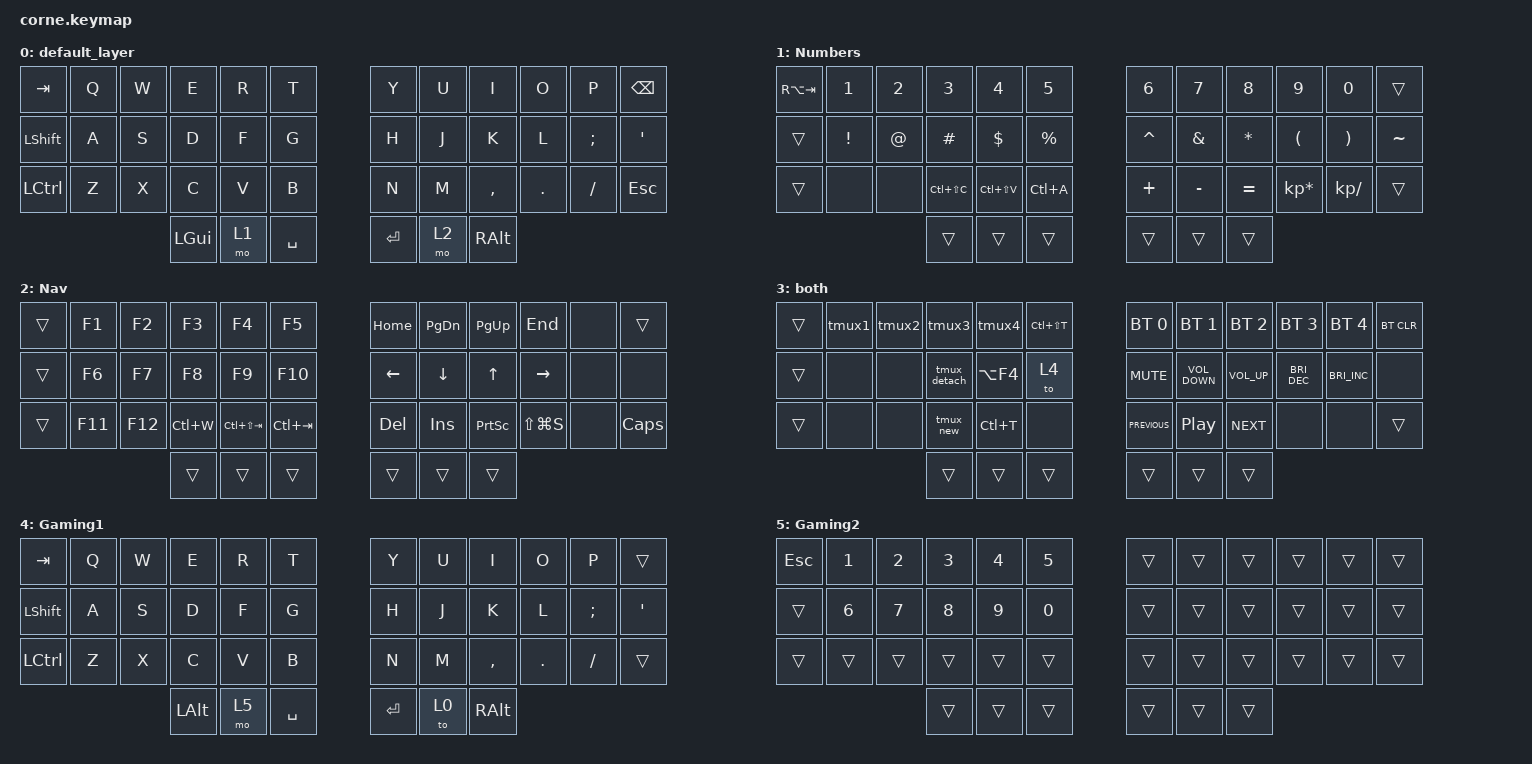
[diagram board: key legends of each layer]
/*
 * Copyright (c) 2020 The ZMK Contributors
 *
 * SPDX-License-Identifier: MIT
 */

#include <behaviors.dtsi>
#include <dt-bindings/zmk/bt.h>
#include <dt-bindings/zmk/keys.h>

/ {
    combos {
        compatible = "zmk,combos";

        LeftPar {
            bindings = <&kp LEFT_PARENTHESIS>;
            key-positions = <4 3>;
        };

        RightPar {
            bindings = <&kp RIGHT_PARENTHESIS>;
            key-positions = <7 8>;
        };

        LeftBkt {
            bindings = <&kp LEFT_BRACKET>;
            key-positions = <16 15>;
        };

        RightBkt {
            bindings = <&kp RIGHT_BRACKET>;
            key-positions = <19 20>;
        };

        LeftBrc {
            bindings = <&kp LEFT_BRACE>;
            key-positions = <28 27>;
        };

        RightBrc {
            bindings = <&kp RIGHT_BRACE>;
            key-positions = <31 32>;
        };

        LessT {
            bindings = <&kp LESS_THAN>;
            key-positions = <4 5>;
        };

        GreaterT {
            bindings = <&kp GREATER_THAN>;
            key-positions = <7 6>;
        };

        Equal {
            bindings = <&kp EQUAL>;
            key-positions = <16 19>;
        };

        Plus {
            bindings = <&kp PLUS>;
            key-positions = <4 7>;
        };

        Minus {
            bindings = <&kp MINUS>;
            key-positions = <28 31>;
        };

        Underscore {
            bindings = <&kp UNDERSCORE>;
            key-positions = <29 30>;
        };

        pipe {
            bindings = <&kp PIPE>;
            key-positions = <17 18>;
        };

        backslash {
            bindings = <&kp BACKSLASH>;
            key-positions = <5 6>;
        };
    };

    macros {
        tmux1: new_macro {
            compatible = "zmk,behavior-macro";
            #binding-cells = <0>;
            bindings =
                <&kp LC(A)>,
                <&macro_pause_for_release>,
                <&kp KP_NUMBER_1>;

            label = "NEW_MACRO";
        };

        tmux2: tmux2 {
            compatible = "zmk,behavior-macro";
            #binding-cells = <0>;
            bindings =
                <&kp LC(A)>,
                <&macro_pause_for_release>,
                <&kp KP_NUMBER_2>;

            label = "TMUX2";
        };

        tmux3: tmux3 {
            compatible = "zmk,behavior-macro";
            #binding-cells = <0>;
            bindings =
                <&kp LC(A)>,
                <&macro_pause_for_release>,
                <&kp KP_NUMBER_3>;

            label = "TMUX3";
        };

        tmux4: tmux4 {
            compatible = "zmk,behavior-macro";
            #binding-cells = <0>;
            bindings =
                <&kp LC(A)>,
                <&macro_pause_for_release>,
                <&kp KP_NUMBER_4>;

            label = "TMUX4";
        };

        tmux_new: tmux_new {
            compatible = "zmk,behavior-macro";
            #binding-cells = <0>;
            bindings = <&kp LC(A)>, <&macro_pause_for_release>, <&kp C>;

            label = "TMUX_NEW";
        };

        tmux_detach: tmux_close {
            compatible = "zmk,behavior-macro";
            #binding-cells = <0>;
            bindings = <&kp LC(A)>, <&macro_pause_for_release>, <&kp D>;

            label = "TMUX_CLOSE";
        };
    };

    keymap {
        compatible = "zmk,keymap";

        default_layer {
            // -----------------------------------------------------------------------------------------
            // |  TAB |  Q  |  W  |  E  |  R  |  T  |   |  Y  |  U   |  I  |  O  |  P  | BSPC |
            // | SHFT |  A  |  S  |  D  |  F  |  G  |   |  H  |  J   |  K  |  L  |  ;  |  '   |
            // | CTRL |  Z  |  X  |  C  |  V  |  B  |   |  N  |  M   |  ,  |  .  |  /  | ESC  |
            //                    | GUI | LWR | SPC |   | ENT | RSE  | ALT |

            bindings = <
&kp TAB           &kp Q  &kp W  &kp E     &kp R  &kp T        &kp Y    &kp U  &kp I      &kp O    &kp P     &kp BSPC
&kp LEFT_SHIFT    &kp A  &kp S  &kp D     &kp F  &kp G        &kp H    &kp J  &kp K      &kp L    &kp SEMI  &kp SQT
&kp LEFT_CONTROL  &kp Z  &kp X  &kp C     &kp V  &kp B        &kp N    &kp M  &kp COMMA  &kp DOT  &kp FSLH  &kp ESC
                                &kp LGUI  &mo 1  &kp SPACE    &kp RET  &mo 2  &kp RALT
            >;
        };

        Numbers {
            // -----------------------------------------------------------------------------------------
            // |A-TAB |  !  |  @  |  #  |  $  |  %  |   |  /  |  7  |  8  |  9  |  -  |  +   |
            // | SHFT |  ^  |  &  |  *  |  -  |  =  |   |  *  |  4  |  5  |  6  |  ç  |  ~   |
            // | CTRL |     |     |     |     |     |   |  0  |  1  |  2  |  3  |  .  |      |
            //                    | GUI |     | SPC |   | ENT |     | ALT |

            bindings = <
&kp RA(TAB)  &kp NUMBER_1  &kp NUMBER_2  &kp NUMBER_3   &kp NUMBER_4   &kp NUMBER_5    &kp NUMBER_6  &kp N7         &kp N8        &kp N9                &kp NUMBER_0   &trans
&trans       &kp EXCL      &kp AT        &kp HASH       &kp DOLLAR     &kp PERCENT     &kp CARET     &kp AMPERSAND  &kp ASTERISK  &kp LEFT_PARENTHESIS  &kp RPAR       &kp TILDE
&trans       &none         &none         &kp LC(LS(C))  &kp LC(LS(V))  &kp LC(A)       &kp PLUS      &kp MINUS      &kp EQUAL     &kp KP_MULTIPLY       &kp KP_DIVIDE  &trans
                                         &trans         &trans         &trans          &trans        &trans         &trans
            >;
        };

        Nav {
            // -----------------------------------------------------------------------------------------
            // |      | F1  | F2  | F3  | F4  | F5  |   |HOME |PGDN |PGUP | END |     |      |
            // |      | F6  | F7  | F8  | F9  | F10 |   |LEFT |DOWN |  UP |RGT  |     |      |
            // |      | F11 | F12 |     |     |     |   | DEL | INS | PRT |LOCK |     | CAPS |
            //                    | GUI |     | SPC |   | ENT |     | ALT |

            bindings = <
&trans  &kp F1   &kp F2   &kp F3     &kp F4           &kp F5         &kp HOME  &kp PG_DN   &kp PG_UP        &kp END        &none  &trans
&trans  &kp F6   &kp F7   &kp F8     &kp F9           &kp F10        &kp LEFT  &kp DOWN    &kp UP           &kp RIGHT      &none  &none
&trans  &kp F11  &kp F12  &kp LC(W)  &kp LC(LS(TAB))  &kp LC(TAB)    &kp DEL   &kp INSERT  &kp PRINTSCREEN  &kp LS(LG(S))  &none  &kp CAPSLOCK
                          &trans     &trans           &trans         &trans    &trans      &trans
            >;
        };

        both {
            // -----------------------------------------------------------------------------------------
            // |      | TM1 | TM2 | TM3 | TM4 |     |   | BT0 | BT1 | BT2 | BT3 | BT4 |BCLR |
            // |      | C-W |C-S-T|DETCH|A-F4 | G1  |   |MUTE |VOL- |VOL+ | BR- | BR+ |     |
            // |      | C-T |C-S-B| NEW |C-TAB|     |   |PREV |PLAY |NEXT |     |     |      |
            //                    | GUI |     | SPC |   | ENT |     | ALT |

            bindings = <
&trans  &tmux1  &tmux2  &tmux3        &tmux4      &kp LC(LS(T))    &bt BT_SEL 0    &bt BT_SEL 1       &bt BT_SEL 2     &bt BT_SEL 3          &bt BT_SEL 4          &bt BT_CLR
&trans  &none   &none   &tmux_detach  &kp LA(F4)  &to 4            &kp C_MUTE      &kp C_VOLUME_DOWN  &kp C_VOLUME_UP  &kp C_BRIGHTNESS_DEC  &kp C_BRIGHTNESS_INC  &none
&trans  &none   &none   &tmux_new     &kp LC(T)   &none            &kp C_PREVIOUS  &kp C_PLAY_PAUSE   &kp C_NEXT       &none                 &none                 &trans
                        &trans        &trans      &trans           &trans          &trans             &trans
            >;
        };

        Gaming1 {
            bindings = <
&kp TAB    &kp Q  &kp W  &kp E     &kp R  &kp T        &kp Y      &kp U  &kp I          &kp O    &kp P     &trans
&kp LSHFT  &kp A  &kp S  &kp D     &kp F  &kp G        &kp H      &kp J  &kp K          &kp L    &kp SEMI  &kp APOS
&kp LCTRL  &kp Z  &kp X  &kp C     &kp V  &kp B        &kp N      &kp M  &kp COMMA      &kp DOT  &kp FSLH  &trans
                         &kp LALT  &mo 5  &kp SPACE    &kp ENTER  &to 0  &kp RIGHT_ALT
            >;
        };

        Gaming2 {
            bindings = <
&kp ESC  &kp N1  &kp N2  &kp N3  &kp N4  &kp N5    &trans  &trans  &trans  &trans  &trans  &trans
&trans   &kp N6  &kp N7  &kp N8  &kp N9  &kp N0    &trans  &trans  &trans  &trans  &trans  &trans
&trans   &trans  &trans  &trans  &trans  &trans    &trans  &trans  &trans  &trans  &trans  &trans
                         &trans  &trans  &trans    &trans  &trans  &trans
            >;
        };
    };

    conditional_layers {
        compatible = "zmk,conditional-layers";

        Both {
            if-layers = <1 2>;
            then-layer = <3>;
        };
    };
};

